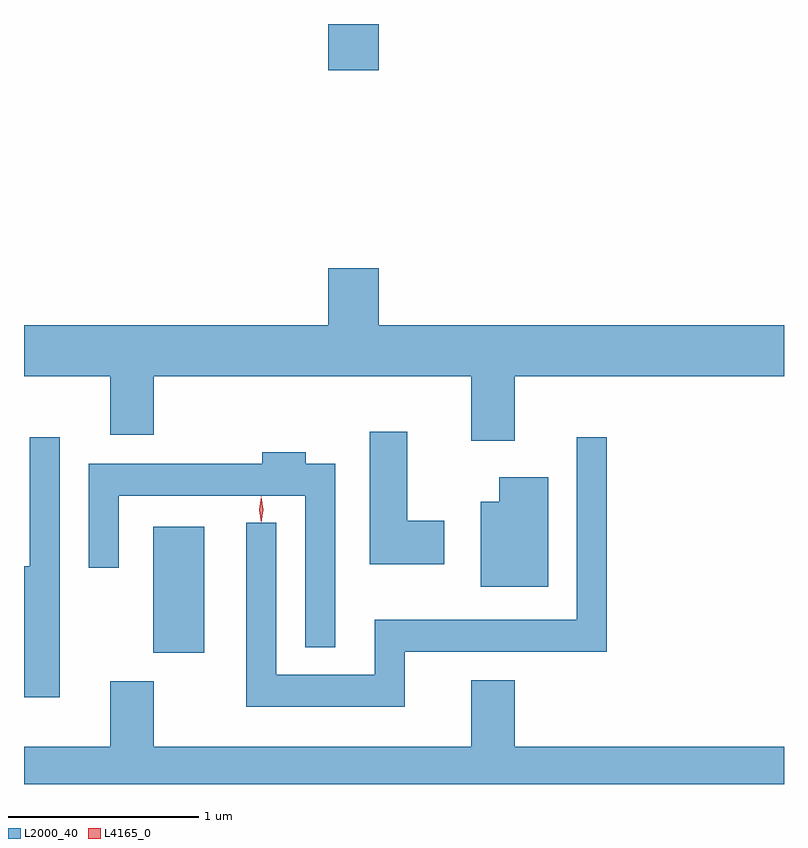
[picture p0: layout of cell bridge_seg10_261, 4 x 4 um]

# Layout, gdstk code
import gdstk
lib = gdstk.Library(unit=1e-6, precision=1e-09)
def R(c, l, rs):  # rectangles x0, y0, x1, y1
    for r in rs: c.add(gdstk.rectangle(r[:2], r[2:], *l))
def P(c, l, *ps):  # polygons
    for p in ps: c.add(gdstk.Polygon(p, *l))
L2000_40 = (2000, 40)
L4165_0 = (4165, 0)

bridge_seg10_261 = lib.new_cell('bridge_seg10_261')
R(bridge_seg10_261, L2000_40, [(1812.556,2096.921,1812.824,2097.584), (1813.476,2099.986,1813.744,2100.229)])
P(bridge_seg10_261, L2000_40, [(1814.459,2098.376),(1815.876,2098.376),(1815.876,2098.644),(1813.744,2098.644),(1813.744,2098.944),(1813.476,2098.944),(1813.476,2098.644),(1811.876,2098.644),(1811.876,2098.376),(1812.331,2098.376),(1812.331,2098.066),(1812.559,2098.066),(1812.559,2098.376),(1814.231,2098.376),(1814.231,2098.036),(1814.459,2098.036)],
  [(1814.089,2097.614),(1813.894,2097.614),(1813.894,2098.084),(1813.696,2098.084),(1813.696,2097.386),(1814.089,2097.386)],
  [(1812.064,2098.053),(1811.906,2098.053),(1811.906,2097.374),(1811.876,2097.374),(1811.876,2096.686),(1812.064,2096.686)],
  [(1813.879,2096.926),(1814.944,2096.926),(1814.944,2098.053),(1814.786,2098.053),(1814.786,2097.094),(1813.721,2097.094),(1813.721,2096.804),(1813.204,2096.804),(1813.204,2097.603),(1813.046,2097.603),(1813.046,2096.636),(1813.879,2096.636)],
  [(1813.514,2097.914),(1813.359,2097.914),(1813.359,2097.974),(1813.131,2097.974),(1813.131,2097.914),(1812.216,2097.914),(1812.216,2097.368),(1812.374,2097.368),(1812.374,2097.746),(1813.356,2097.746),(1813.356,2096.948),(1813.514,2096.948)],
  [(1814.634,2097.844),(1814.376,2097.844),(1814.376,2097.714),(1814.281,2097.714),(1814.281,2097.266),(1814.634,2097.266)],
  [(1815.876,2096.424),(1814.459,2096.424),(1814.459,2096.774),(1814.231,2096.774),(1814.231,2096.424),(1812.559,2096.424),(1812.559,2096.769),(1812.331,2096.769),(1812.331,2096.424),(1811.876,2096.424),(1811.876,2096.229),(1815.876,2096.229)])
P(bridge_seg10_261, L4165_0, [(1813.124,2097.604),(1813.124,2097.604),(1813.114,2097.673),(1813.124,2097.742),(1813.124,2097.743),(1813.125,2097.742),(1813.134,2097.673),(1813.125,2097.604)])

lib.write_gds('bridge_seg10_261.gds')
